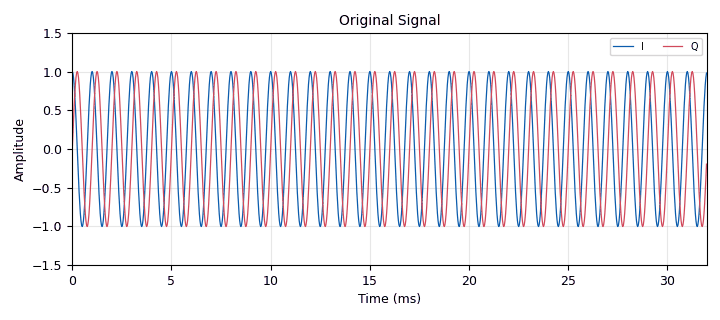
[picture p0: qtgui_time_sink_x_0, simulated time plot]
options:
  parameters:
    description: Test EJFAT Source and Sink blocks
    generate_options: qt_gui
    hier_block_src_path: .:.
    id: test_ejfat_blocks
    output_language: python
    title: EJFAT Block Test
  states: {}

blocks:
- name: freq
  id: variable_qtgui_range
  parameters:
    label: Signal Frequency
    start: '100'
    step: '100'
    stop: '10000'
    value: '1000'
  states: {}
- name: samp_rate
  id: variable
  parameters:
    value: '32000'
  states: {}
- name: test_file
  id: variable
  parameters:
    value: '"/tmp/ejfat_test.bin"'
  states: {}
- name: analog_sig_source_x_0
  id: analog_sig_source_x
  parameters:
    amp: '1'
    comment: Generate test signal
    freq: freq
    offset: '0'
    phase: '0'
    samp_rate: samp_rate
    type: complex
    waveform: analog.GR_COS_WAVE
  states: {}
- name: blocks_throttle2_0
  id: blocks_throttle2
  parameters:
    samples_per_second: samp_rate
    type: complex
  states: {}
- name: blocks_throttle2_0_0
  id: blocks_throttle2
  parameters:
    samples_per_second: samp_rate
    type: complex
  states: {}
- name: ejfat_ejfat_sink
  id: ejfat_ejfat_sink
  parameters:
    comment: Write to file
    filename: test_file
  states: {}
- name: ejfat_ejfat_source
  id: ejfat_ejfat_source
  parameters:
    comment: Read from file
    filename: test_file
    repeat: 'True'
  states: {}
- name: qtgui_freq_sink_x_0
  id: qtgui_freq_sink_x
  parameters:
    bw: samp_rate
    comment: Display playback
    fc: '0'
    fftsize: '1024'
    label1: Playback
    name: '"Frequency Spectrum"'
    type: complex
  states: {}
- name: qtgui_time_sink_x_0
  id: qtgui_time_sink_x
  parameters:
    comment: Display original signal
    label1: I
    label2: Q
    name: '"Original Signal"'
    size: '1024'
    srate: samp_rate
    type: complex
    ymax: '1.5'
    ymin: '-1.5'
  states: {}

connections:
- [analog_sig_source_x_0, '0', blocks_throttle2_0, '0']
- [blocks_throttle2_0, '0', ejfat_ejfat_sink, '0']
- [blocks_throttle2_0, '0', qtgui_time_sink_x_0, '0']
- [blocks_throttle2_0_0, '0', qtgui_freq_sink_x_0, '0']
- [ejfat_ejfat_source, '0', blocks_throttle2_0_0, '0']

metadata:
  file_format: 1
  grc_version: 3.10.12.0
